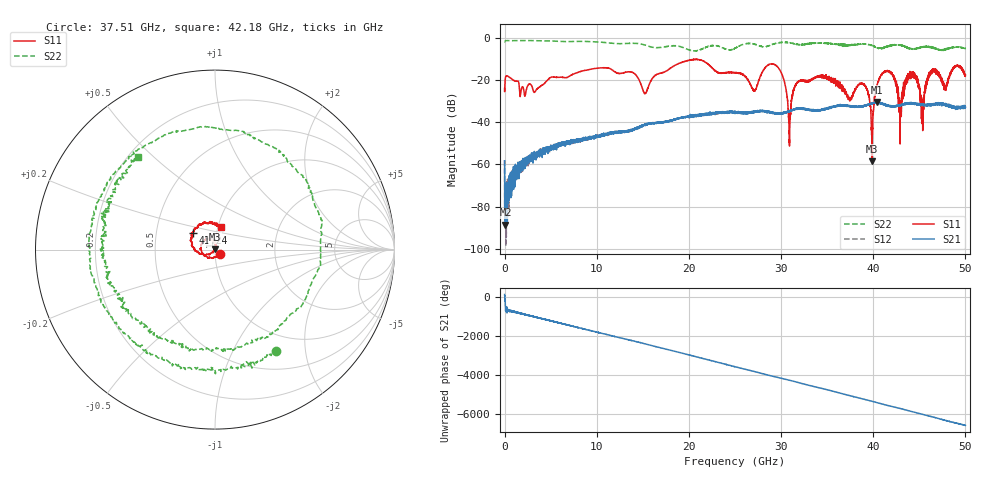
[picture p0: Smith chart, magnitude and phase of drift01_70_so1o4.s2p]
!Created with skrf (http://scikit-rf.org).
# Hz S RI R 50.0
!freq ReS11 ImS11 ReS21 ImS21 ReS12 ImS12 ReS22 ImS22
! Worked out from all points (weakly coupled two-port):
!   10001 points, 300 kHz to 50 GHz, reference 50 ohm
!   highest |S21| = -30.49 dB at 40.45 GHz (marker M1); lowest = -88.5 dB at 90.3 MHz (marker M2)
!   lowest |S11| = -58.6 dB at 39.89 GHz (marker M3), VSWR 1.00, Z = 50 + j0.114 ohm
!   |S11| at or under -10 dB: start of sweep to end of sweep
!   |S22| runs from -6.4 to -1.4 dB; largest |S21 - S12| = 0.004
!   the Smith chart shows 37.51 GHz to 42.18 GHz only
!   S11 on the Smith chart (normalised r, x): 37.51 GHz: 1.05, -0.05; 41.24 GHz: 0.77, +0.14; 42.18 GHz: 1.04, +0.26
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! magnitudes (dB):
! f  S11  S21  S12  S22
! 300 kHz  -24.1  -58.4  -58.0  -2.1
! 90.3 MHz  -19.0  -88.5  -80.3  -1.5
! 8.335 GHz  -15.9  -48.6  -48.3  -1.8
! 16.67 GHz  -17.1  -40.4  -40.4  -4.8
! 25 GHz  -16.5  -36.0  -35.3  -5.0
! 27.09 GHz  -25.2  -35.1  -35.1  -3.0
! 29.45 GHz  -13.2  -36.1  -35.9  -2.7
! 30.92 GHz  -51.3  -34.7  -34.9  -2.5
! 31.68 GHz  -21.9  -33.9  -33.8  -3.2
! 33.34 GHz  -19.8  -34.5  -34.4  -2.7
! 37.51 GHz  -29.0  -32.3  -32.3  -3.6
! 39 GHz  -22.2  -32.0  -32.5  -3.1
! 39.89 GHz  -58.6  -31.0  -31.2  -3.8
! 40.45 GHz  -22.2  -30.5  -30.8  -4.9
! 41.24 GHz  -16.2  -31.8  -31.8  -4.8
! 41.67 GHz  -15.9  -32.1  -32.3  -4.0
! 42.18 GHz  -17.8  -32.7  -32.7  -3.5
! 42.89 GHz  -33.7  -31.8  -32.3  -3.6
! 44.17 GHz  -16.9  -31.2  -31.4  -5.4
! 45.32 GHz  -38.7  -31.8  -32.1  -4.5
! 46.42 GHz  -15.3  -31.9  -31.9  -4.9
! 50 GHz  -17.6  -33.0  -32.7  -5.2
